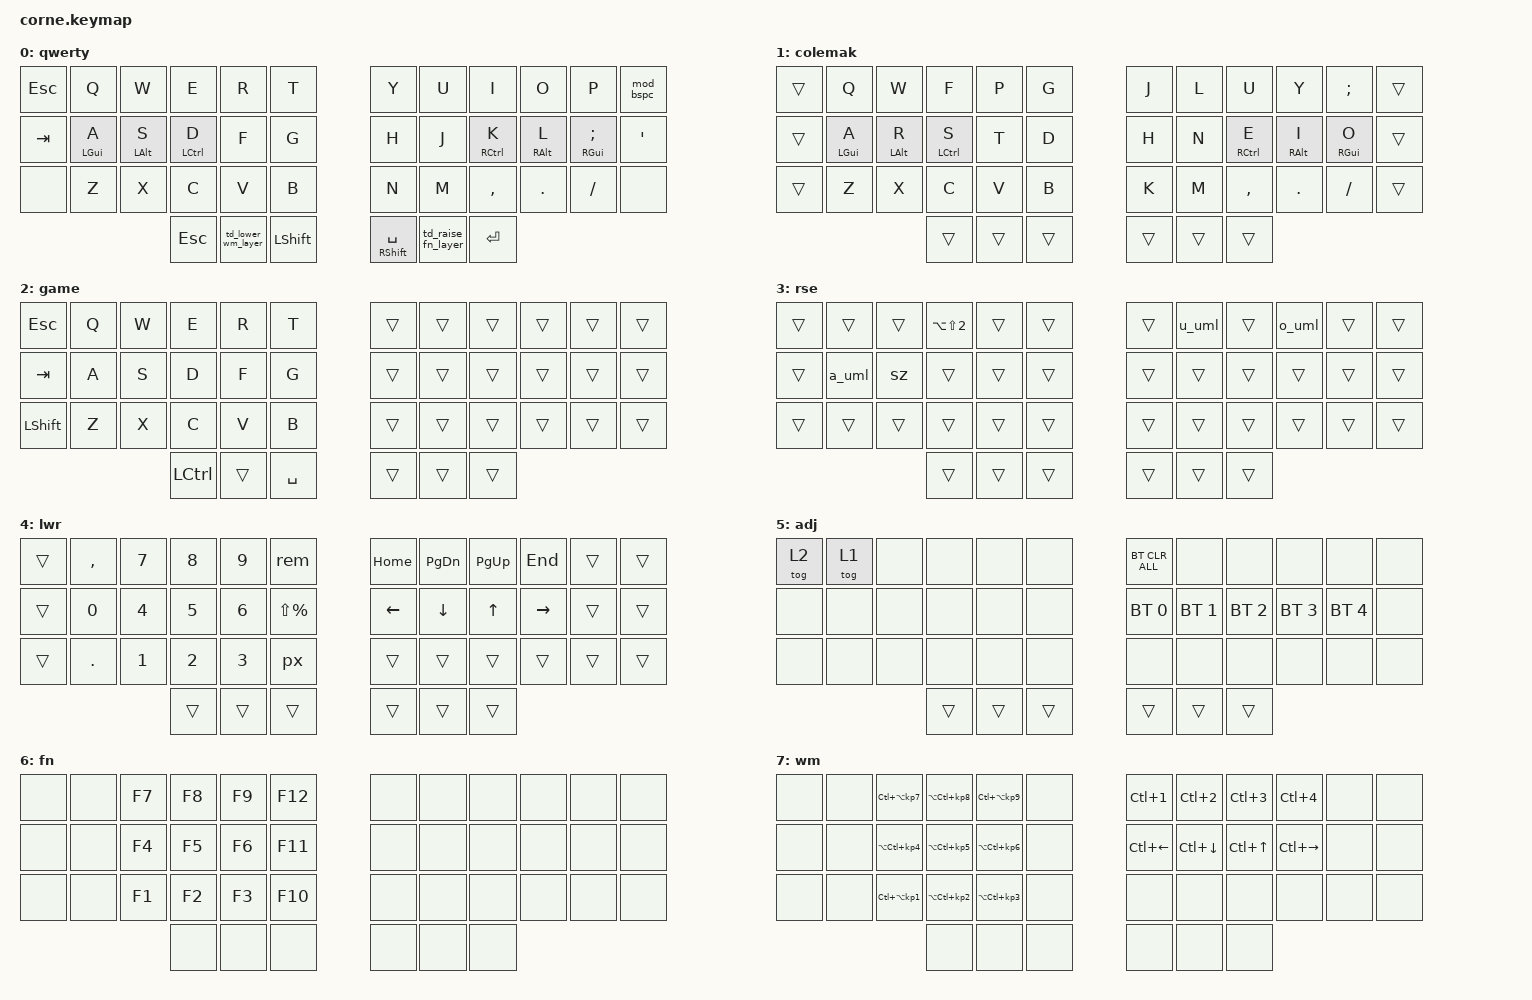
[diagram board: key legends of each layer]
#include <behaviors/non_overlap.dtsi>
#include <behaviors.dtsi>
#include <dt-bindings/zmk/bt.h>
#include <dt-bindings/zmk/keys.h>

&sk { release-after-ms = <500>; };

/ {
    behaviors {
        mod_bspc: mod_bspc {
            compatible = "zmk,behavior-mod-morph";
            label = "MOD_BSPC";
            bindings = <&kp BACKSPACE>, <&kp DEL>;

            #binding-cells = <0>;
            mods = <(MOD_LSFT|MOD_RSFT)>;
        };

        hrm_l: hrm_l {
            compatible = "zmk,behavior-hold-tap";
            label = "HRM_L";
            bindings = <&kp>, <&kp>;

            #binding-cells = <2>;
            hold-trigger-key-positions = <36 37 38 39 40 30 18 6 7 19 31 32 20 8 9 21 34 33 22 10 11 35 23 41>;
            hold-trigger-on-release;
            flavor = "tap-preferred";
            tapping-term-ms = <200>;
            quick-tap-ms = <200>;
            require-prior-idle-ms = <175>;
        };

        hrm_r: hrm_r {
            compatible = "zmk,behavior-hold-tap";
            label = "HRM_R";
            bindings = <&kp>, <&kp>;

            #binding-cells = <2>;
            hold-trigger-on-release;
            flavor = "tap-preferred";
            tapping-term-ms = <200>;
            quick-tap-ms = <200>;
            require-prior-idle-ms = <175>;
            hold-trigger-key-positions = <0 1 2 3 4 5 12 13 14 15 16 17 24 25 26 27 28 29 36 37 38 39 40 41>;
        };

        mt_space: mt_space {
            compatible = "zmk,behavior-hold-tap";
            label = "MT_SPACE";
            bindings = <&kp>, <&kp>;

            #binding-cells = <2>;
            flavor = "tap-preferred";
            tapping-term-ms = <150>;
        };

        td_lower_wm_layer: td_lower_wm_layer {
            compatible = "zmk,behavior-tap-dance";
            label = "TD_LOWER_WM_LAYER";
            #binding-cells = <0>;
            tapping-term-ms = <200>;
            bindings = <&mo 4>, <&mo 7>;
        };

        td_raise_fn_layer: td_raise_fn_layer {
            compatible = "zmk,behavior-tap-dance";
            label = "TD_RAISE_FN_LAYER";
            #binding-cells = <0>;
            tapping-term-ms = <200>;
            bindings = <&mo 3>, <&mo 6>;
        };
    };

    combos {
        compatible = "zmk,combos";
        require-prior-idle-ms = <125>;

        Left_Square_Bracket {
            bindings = <&kp LBKT>;
            key-positions = <2 3>;
            layers = <0>;
        };

        Right_Square_Bracket {
            bindings = <&kp RBKT>;
            key-positions = <3 4>;
            layers = <0>;
        };

        Left_Parenthesis {
            bindings = <&kp LPAR>;
            key-positions = <14 15>;
            layers = <0>;
        };

        Right_Parenthesis {
            bindings = <&kp RPAR>;
            key-positions = <15 16>;
            layers = <0>;
        };

        Left_Brace {
            bindings = <&kp LBRC>;
            key-positions = <26 27>;
            layers = <0>;
        };

        Right_Brace {
            bindings = <&kp RBRC>;
            key-positions = <27 28>;
            layers = <0>;
        };

        Percent {
            bindings = <&kp PERCENT>;
            key-positions = <8 9>;
            layers = <0>;
        };

        QuestionMark {
            bindings = <&kp QMARK>;
            key-positions = <13 14>;
            layers = <0>;
        };

        ExclamationMark {
            bindings = <&kp EXCL>;
            key-positions = <25 26>;
            layers = <0>;
        };

        Underscore {
            bindings = <&kp UNDER>;
            key-positions = <28 29>;
            layers = <0>;
        };

        Amp {
            bindings = <&kp AMPS>;
            key-positions = <1 2>;
            layers = <0>;
        };

        Grave {
            bindings = <&kp GRAVE>;
            key-positions = <4 5>;
            layers = <0>;
        };

        Pipe {
            bindings = <&kp PIPE>;
            key-positions = <16 17>;
            layers = <0>;
        };

        At {
            bindings = <&kp AT>;
            key-positions = <18 19>;
            layers = <0>;
        };

        Backslash {
            bindings = <&kp BACKSLASH>;
            key-positions = <34 33>;
            layers = <0>;
        };

        Caret {
            bindings = <&kp CARET>;
            key-positions = <31 32>;
            layers = <0>;
        };

        Minus {
            bindings = <&kp MINUS>;
            key-positions = <19 20>;
            layers = <0>;
        };

        Tilde {
            bindings = <&kp TILDE>;
            key-positions = <31 30>;
            layers = <0>;
        };

        Dollar {
            bindings = <&kp DOLLAR>;
            key-positions = <7 8>;
            layers = <0>;
        };

        Equal {
            bindings = <&kp EQUAL>;
            key-positions = <20 21>;
            layers = <0>;
        };

        plus {
            bindings = <&kp PLUS>;
            key-positions = <21 22>;
            layers = <0>;
        };

        Asterisk {
            bindings = <&kp ASTERISK>;
            key-positions = <9 10>;
            layers = <0>;
        };

        Hash {
            bindings = <&kp HASH>;
            key-positions = <7 6>;
            layers = <0>;
        };
    };

    macros {
        px: px {
            compatible = "zmk,behavior-macro";
            #binding-cells = <0>;
            bindings = <&kp P &kp X>;
            label = "PX";
        };

        rem: rem {
            compatible = "zmk,behavior-macro";
            #binding-cells = <0>;
            bindings = <&kp R &kp E &kp M>;
            label = "REM";
        };

        a_uml: a_uml {
            compatible = "zmk,behavior-macro";
            #binding-cells = <0>;
            bindings = <&kp LA(U) &kp A>;
            label = "A_UML";
        };

        o_uml: o_uml {
            compatible = "zmk,behavior-macro";
            #binding-cells = <0>;
            bindings = <&kp LA(U) &kp O>;
            label = "O_UML";
        };

        u_uml: u_uml {
            compatible = "zmk,behavior-macro";
            #binding-cells = <0>;
            bindings = <&kp LA(U) &kp U>;
            label = "U_UML";
        };

        sz: sz {
            compatible = "zmk,behavior-macro";
            #binding-cells = <0>;
            bindings = <&kp RA(S)>;
            label = "SZ";
        };

        Arrow: Arrow {
            compatible = "zmk,behavior-macro";
            #binding-cells = <0>;
            bindings = <&none &kp EQUAL &kp GT>;
            label = "ARROW";
        };
    };

    keymap {
        compatible = "zmk,keymap";

        qwerty {
            display-name = "qwerty";
            bindings = <
&kp ESCAPE  &kp Q          &kp W              &kp E           &kp R               &kp T             &kp Y                        &kp U               &kp I           &kp O               &kp P                  &mod_bspc
&kp TAB     &hrm_l LGUI A  &hrm_l LEFT_ALT S  &hrm_l LCTRL D  &kp F               &kp G             &kp H                        &kp J               &hrm_r RCTRL K  &hrm_r RIGHT_ALT L  &hrm_r RGUI SEMICOLON  &kp SQT
&none       &kp Z          &kp X              &kp C           &kp V               &kp B             &kp N                        &kp M               &kp COMMA       &kp DOT             &kp FSLH               &none
                                              &kp ESCAPE      &td_lower_wm_layer  &kp LEFT_SHIFT    &mt_space RIGHT_SHIFT SPACE  &td_raise_fn_layer  &kp ENTER
            >;
        };

        colemak {
            display-name = "colemak";
            bindings = <
&trans  &kp Q          &kp W          &kp F           &kp P   &kp G     &kp J   &kp L   &kp U           &kp Y          &kp SEMI       &trans
&trans  &hrm_l LGUI A  &hrm_l LALT R  &hrm_l LCTRL S  &kp T   &kp D     &kp H   &kp N   &hrm_r RCTRL E  &hrm_r RALT I  &hrm_r RGUI O  &trans
&trans  &kp Z          &kp X          &kp C           &kp V   &kp B     &kp K   &kp M   &kp COMMA       &kp DOT        &kp FSLH       &trans
                                      &trans          &trans  &trans    &trans  &trans  &trans
            >;
        };

        Gaming {
            display-name = "game";
            bindings = <
&kp ESC    &kp Q  &kp W  &kp E      &kp R   &kp T        &trans  &trans  &trans  &trans  &trans  &trans
&kp TAB    &kp A  &kp S  &kp D      &kp F   &kp G        &trans  &trans  &trans  &trans  &trans  &trans
&kp LSHFT  &kp Z  &kp X  &kp C      &kp V   &kp B        &trans  &trans  &trans  &trans  &trans  &trans
                         &kp LCTRL  &trans  &kp SPACE    &trans  &trans  &trans
            >;
        };

        raise_layer {
            display-name = "rse";
            bindings = <
&trans  &trans  &trans  &kp LA(LS(NUMBER_2))  &trans  &trans    &trans  &u_uml  &trans  &o_uml  &trans  &trans
&trans  &a_uml  &sz     &trans                &trans  &trans    &trans  &trans  &trans  &trans  &trans  &trans
&trans  &trans  &trans  &trans                &trans  &trans    &trans  &trans  &trans  &trans  &trans  &trans
                        &trans                &trans  &trans    &trans  &trans  &trans
            >;
        };

        lower_layer {
            display-name = "lwr";
            bindings = <
&trans  &kp COMMA  &kp N7  &kp N8  &kp N9  &rem             &kp HOME  &kp PG_DN  &kp PG_UP  &kp END    &trans  &trans
&trans  &kp N0     &kp N4  &kp N5  &kp N6  &kp LS(PRCNT)    &kp LEFT  &kp DOWN   &kp UP     &kp RIGHT  &trans  &trans
&trans  &kp DOT    &kp N1  &kp N2  &kp N3  &px              &trans    &trans     &trans     &trans     &trans  &trans
                           &trans  &trans  &trans           &trans    &trans     &trans
            >;
        };

        adjust_layer {
            display-name = "adj";
            bindings = <
&tog 2  &tog 1  &none  &none   &none   &none     &bt BT_CLR_ALL  &none         &none         &none         &none         &none
&none   &none   &none  &none   &none   &none     &bt BT_SEL 0    &bt BT_SEL 1  &bt BT_SEL 2  &bt BT_SEL 3  &bt BT_SEL 4  &none
&none   &none   &none  &none   &none   &none     &none           &none         &none         &none         &none         &none
                       &trans  &trans  &trans    &trans          &trans        &trans
            >;
        };

        fn_layer {
            display-name = "fn";
            bindings = <
&none  &none  &kp F7  &kp F8  &kp F9  &kp F12    &none  &none  &none  &none  &none  &none
&none  &none  &kp F4  &kp F5  &kp F6  &kp F11    &none  &none  &none  &none  &none  &none
&none  &none  &kp F1  &kp F2  &kp F3  &kp F10    &none  &none  &none  &none  &none  &none
                      &none   &none   &none      &none  &none  &none
            >;
        };

        wm_layer {
            display-name = "wm";
            bindings = <
&none  &none  &kp LC(LA(KP_NUMBER_7))  &kp LA(LC(KP_NUMBER_8))  &kp LC(LA(KP_NUMBER_9))  &none    &kp LC(NUMBER_1)    &kp LC(NUMBER_2)    &kp LC(NUMBER_3)  &kp LC(NUMBER_4)     &none  &none
&none  &none  &kp LA(LC(KP_NUMBER_4))  &kp LA(LC(KP_NUMBER_5))  &kp LA(LC(KP_NUMBER_6))  &none    &kp LC(LEFT_ARROW)  &kp LC(DOWN_ARROW)  &kp LC(UP_ARROW)  &kp LC(RIGHT_ARROW)  &none  &none
&none  &none  &kp LC(LA(KP_NUMBER_1))  &kp LA(LC(KP_NUMBER_2))  &kp LA(LC(KP_NUMBER_3))  &none    &none               &none               &none             &none                &none  &none
                                       &none                    &none                    &none    &none               &none               &none
            >;
        };
    };

    conditional_layers {
        compatible = "zmk,conditional-layers";

        activate_adjust_layer {
            if-layers = <4 3>;
            then-layer = <5>;
        };
    };
};
